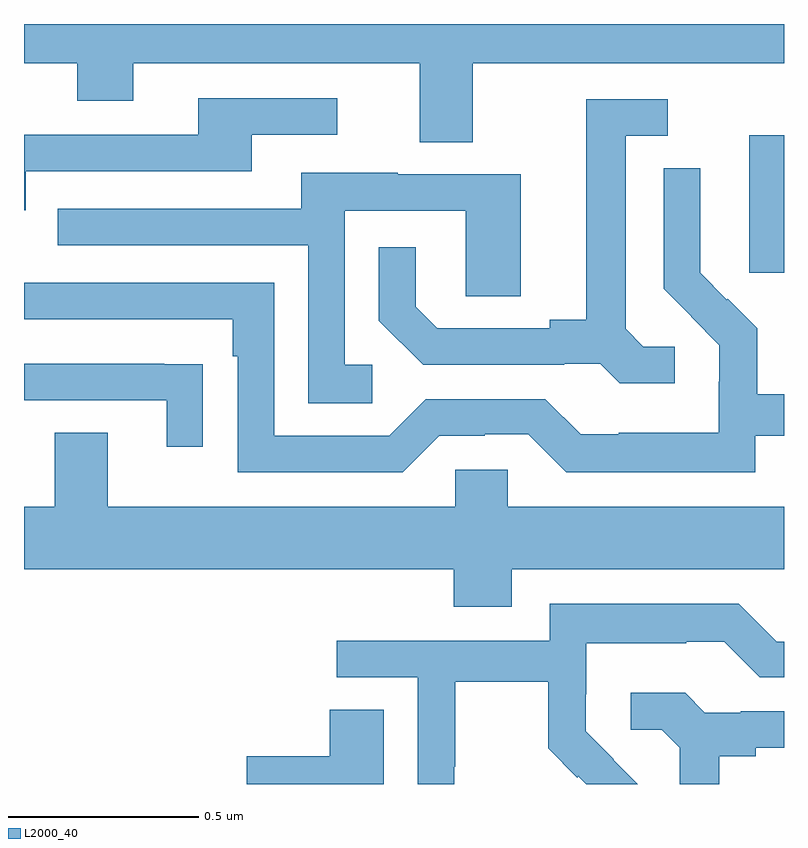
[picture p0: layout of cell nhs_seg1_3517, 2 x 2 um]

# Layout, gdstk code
import gdstk
lib = gdstk.Library(unit=1e-6, precision=1e-09)
def R(c, l, rs):  # rectangles x0, y0, x1, y1
    for r in rs: c.add(gdstk.rectangle(r[:2], r[2:], *l))
def P(c, l, *ps):  # polygons
    for p in ps: c.add(gdstk.Polygon(p, *l))
L2000_40 = (2000, 40)

nhs_seg1_3517 = lib.new_cell('nhs_seg1_3517')
R(nhs_seg1_3517, L2000_40, [(156.908,520.545,157,520.906)])
P(nhs_seg1_3517, L2000_40, [(156.181,521.096),(157,521.096),(157,521.199),(155,521.199),(155,521.096),(155.14,521.096),(155.14,520.997),(155.287,520.997),(155.287,521.096),(156.041,521.096),(156.041,520.888),(156.181,520.888)],
  [(155.004,520.812),(155.599,520.812),(155.599,520.908),(155.824,520.908),(155.824,521.004),(155.459,521.004),(155.459,520.908),(155,520.908),(155,520.709),(155.004,520.709)],
  [(156.712,520.35),(156.63,520.35),(156.583,520.397),(156.583,520.905),(156.694,520.905),(156.694,521.001),(156.479,521.001),(156.479,520.421),(156.383,520.421),(156.383,520.398),(156.088,520.398),(156.031,520.455),(156.031,520.612),(155.934,520.612),(155.934,520.418),(156.05,520.302),(156.422,520.302),(156.422,520.305),(156.516,520.305),(156.568,520.253),(156.712,520.253)],
  [(156.924,520.116),(157,520.116),(157,520.225),(156.929,520.225),(156.929,520.399),(156.852,520.476),(156.849,520.473),(156.779,520.544),(156.779,520.666),(156.78,520.666),(156.78,520.82),(156.684,520.82),(156.684,520.502),(156.757,520.429),(156.756,520.428),(156.83,520.354),(156.83,520.257),(156.828,520.257),(156.828,520.123),(156.565,520.123),(156.565,520.119),(156.465,520.119),(156.372,520.212),(156.057,520.212),(155.961,520.116),(155.658,520.116),(155.658,520.518),(155,520.518),(155,520.422),(155.549,520.422),(155.549,520.325),(155.562,520.325),(155.562,520.02),(155.997,520.02),(156.093,520.116),(156.212,520.116),(156.212,520.119),(156.327,520.119),(156.427,520.019),(156.924,520.019)],
  [(155.917,520.302),(155.844,520.302),(155.844,520.707),(156.162,520.707),(156.162,520.483),(156.307,520.483),(156.307,520.803),(155.983,520.803),(155.983,520.807),(155.729,520.807),(155.729,520.713),(155.089,520.713),(155.089,520.617),(155.748,520.617),(155.748,520.201),(155.917,520.201)],
  [(155.471,520.304),(155.369,520.304),(155.369,520.305),(155,520.305),(155,520.209),(155.375,520.209),(155.375,520.086),(155.471,520.086)],
  [(156.283,519.764),(157,519.764),(157,519.928),(156.273,519.928),(156.273,520.026),(156.135,520.026),(156.135,519.928),(155.221,519.928),(155.221,520.123),(155.081,520.123),(155.081,519.928),(155,519.928),(155,519.764),(156.131,519.764),(156.131,519.665),(156.283,519.665)],
  [(156.132,519.244),(156.135,519.244),(156.135,519.468),(156.379,519.468),(156.379,519.293),(156.456,519.216),(156.459,519.219),(156.479,519.199),(156.615,519.199),(156.551,519.263),(156.552,519.264),(156.478,519.338),(156.478,519.435),(156.48,519.435),(156.48,519.569),(156.743,519.569),(156.743,519.573),(156.843,519.573),(156.936,519.48),(157,519.48),(157,519.573),(156.981,519.573),(156.881,519.673),(156.384,519.673),(156.384,519.576),(155.823,519.576),(155.823,519.48),(156.036,519.48),(156.036,519.199),(156.132,519.199)],
  [(156.829,519.272),(156.925,519.272),(156.925,519.294),(157,519.294),(157,519.39),(156.886,519.39),(156.886,519.387),(156.792,519.387),(156.74,519.439),(156.597,519.439),(156.597,519.342),(156.678,519.342),(156.725,519.295),(156.725,519.199),(156.829,519.199)],
  [(155.947,519.395),(155.804,519.395),(155.804,519.272),(155.586,519.272),(155.586,519.199),(155.947,519.199)])

lib.write_gds('nhs_seg1_3517.gds')
